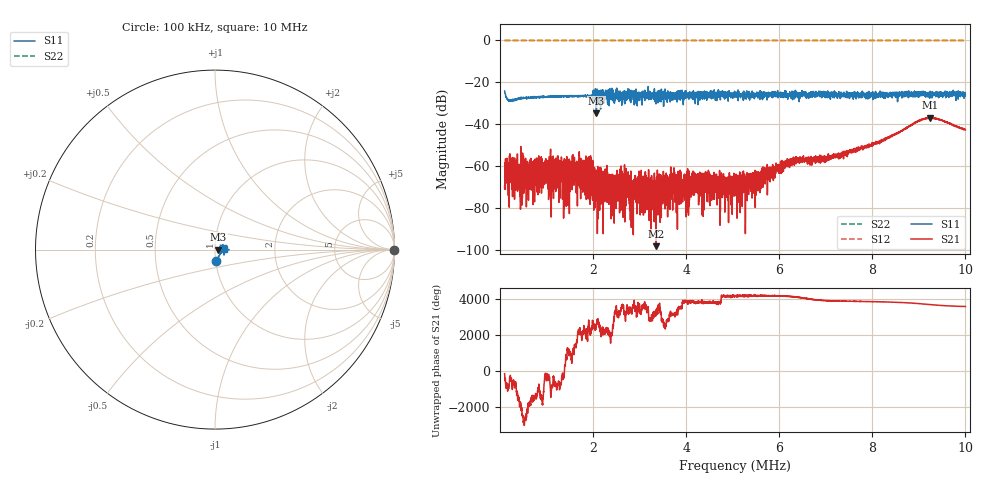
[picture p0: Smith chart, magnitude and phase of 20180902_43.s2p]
! Anritsu VNA Master:  Model: MS2026C/19
! SN:  1815009
! /card0/usr/20180902_43.s2p
! Existing Calibration Information:
! TYPE:  Current Settings,  Active Cal Settings
! TIME:  09/03/2018 12:03:21 AM,  09/02/2018 11:58:48 AM
! INTERNAL TEMP:  47.0 C,  48.8 C
! # POINTS:  4001,  4001
! START FREQ:  100.000 kHz,  100.000 kHz
! STOP FREQ:  10.000 MHz,  10.000 MHz
! SOURCE POWER:  Low,  Low
! IFBW:  500 Hz,  500 Hz
! AVG FACTOR:  1 ,  1
! REF PLANE 1:  0 mm,  0 mm
! REF PLANE 2:  0 mm,  0 mm
! CAL TYPE:  1P2P S11,S21,  1P2P S11,S21
! CAL METHOD:  SOLT,  SOLT
! CAL LINE TYPE:  Coax,  Coax
! DUT PORT 1:  N-Conn(M),  N-Conn(M)
! DUT PORT 2:  N-Conn(M),  N-Conn(M)
! CAL STATUS:  OK: Accuracy High,  --
# GHZ S RI R 50.0
! FREQ.GHZ  S11RE  S11IM  S21RE  S21IM  S12RE  S12IM  S22RE  S22IM
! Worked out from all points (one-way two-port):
!   4001 points, 100 kHz to 10 MHz, reference 50 ohm
!   highest |S21| = -36.81 dB at 9.245 MHz (marker M1); lowest = -98.3 dB at 3.355 MHz (marker M2)
!   lowest |S11| = -34.8 dB at 2.073 MHz (marker M3), VSWR 1.04, Z = 51.9 + j0.0451 ohm
!   |S11| at or under -10 dB: start of sweep to end of sweep
!   |S22| runs from 0.0 to 0.0 dB; largest |S21 - S12| = 1
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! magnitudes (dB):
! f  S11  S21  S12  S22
! 100 kHz  -24.2  -69.6  0.0  0.0
! 241.1 kHz  -28.9  -66.0  0.0  0.0
! 978.6 kHz  -26.8  -58.8  0.0  0.0
! 1.286 MHz  -26.9  -75.4  0.0  0.0
! 1.385 MHz  -26.8  -56.5  0.0  0.0
! 1.751 MHz  -26.5  -59.0  0.0  0.0
! 1.961 MHz  -26.7  -69.4  0.0  0.0
! 2.073 MHz  -34.8  -63.7  0.0  0.0
! 2.426 MHz  -23.6  -72.3  0.0  0.0
! 2.751 MHz  -25.0  -68.2  0.0  0.0
! 2.825 MHz  -25.4  -77.7  0.0  0.0
! 2.941 MHz  -26.1  -82.8  0.0  0.0
! 3.355 MHz  -27.1  -98.3  0.0  0.0
! 3.402 MHz  -27.7  -76.8  0.0  0.0
! 4.174 MHz  -27.2  -67.7  0.0  0.0
! 5.05 MHz  -24.9  -65.8  0.0  0.0
! 5.456 MHz  -25.6  -70.6  0.0  0.0
! 6.325 MHz  -24.3  -56.8  0.0  0.0
! 6.701 MHz  -26.7  -59.6  0.0  0.0
! 8.352 MHz  -25.8  -46.4  0.0  0.0
! 9.245 MHz  -24.2  -36.8  0.0  0.0
! 10 MHz  -26.1  -42.7  0.0  0.0
